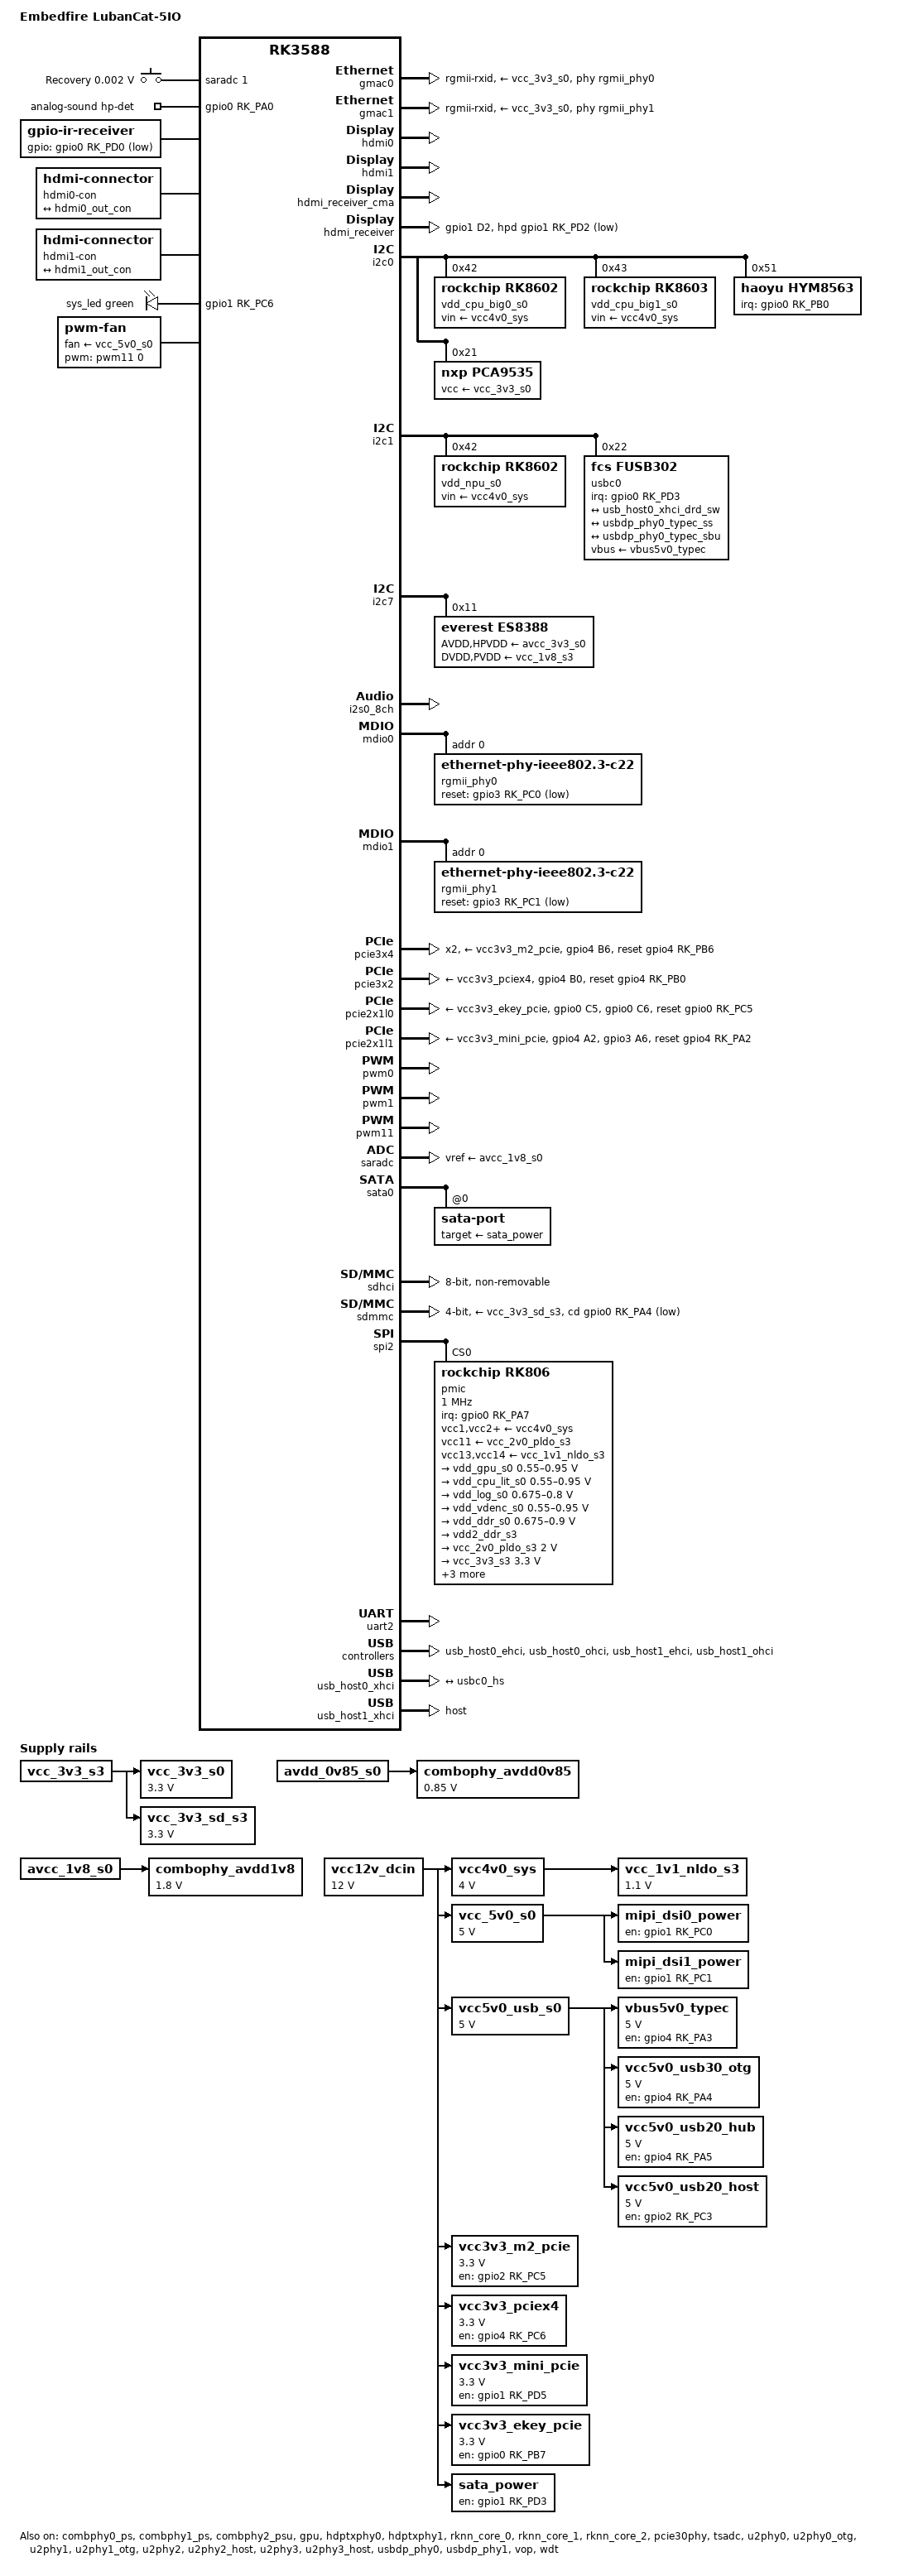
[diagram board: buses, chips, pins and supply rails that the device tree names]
// SPDX-License-Identifier: (GPL-2.0+ OR MIT)

/dts-v1/;

#include <dt-bindings/gpio/gpio.h>
#include <dt-bindings/input/input.h>
#include <dt-bindings/leds/common.h>
#include <dt-bindings/soc/rockchip,vop2.h>
#include <dt-bindings/usb/pd.h>
#include "rk3588.dtsi"

/ {
	model = "Embedfire LubanCat-5IO";
	compatible = "embedfire,rk3588-lubancat-5io", "rockchip,rk3588";

	aliases {
		ethernet0 = &gmac0;
		ethernet1 = &gmac1;
		mmc0 = &sdhci;
		mmc1 = &sdmmc;
	};

	chosen {
		stdout-path = "serial2:1500000n8";
	};

	adc-keys {
		compatible = "adc-keys";
		io-channels = <&saradc 1>;
		io-channel-names = "buttons";
		keyup-threshold-microvolt = <1800000>;
		poll-interval = <100>;

		button-recovery {
			label = "Recovery";
			linux,code = <KEY_VENDOR>;
			press-threshold-microvolt = <1750>;
		};
	};

	analog-sound {
		compatible = "simple-audio-card";
		pinctrl-names = "default";
		pinctrl-0 = <&hp_detect>;
		simple-audio-card,name = "rk3588-es8388";
		simple-audio-card,format = "i2s";
		simple-audio-card,hp-det-gpios = <&gpio0 RK_PA0 GPIO_ACTIVE_HIGH>;
		simple-audio-card,mclk-fs = <256>;
		simple-audio-card,pin-switches = "Headphones", "Speaker";
		simple-audio-card,routing =
			"Headphones", "LOUT1",
			"Headphones", "ROUT1",
			"Speaker", "LOUT2",
			"Speaker", "ROUT2",
			"LINPUT1", "Main Mic",
			"LINPUT2", "Main Mic",
			"RINPUT1", "Headset Mic",
			"RINPUT2", "Headset Mic";
		simple-audio-card,widgets =
			"Headphone", "Headphones",
			"Speaker", "Speaker",
			"Microphone", "Main Mic",
			"Microphone", "Headset Mic";

		simple-audio-card,cpu {
			sound-dai = <&i2s0_8ch>;
		};

		simple-audio-card,codec {
			sound-dai = <&es8388>;
			system-clock-frequency = <12288000>;
		};
	};

	ir-receiver {
		compatible = "gpio-ir-receiver";
		gpios = <&gpio0 RK_PD0 GPIO_ACTIVE_LOW>;
		pinctrl-names = "default";
		pinctrl-0 = <&ir_receiver_pin>;
	};

	hdmi0-con {
		compatible = "hdmi-connector";
		type = "a";

		port {
			hdmi0_con_in: endpoint {
				remote-endpoint = <&hdmi0_out_con>;
			};
		};
	};

	hdmi1-con {
		compatible = "hdmi-connector";
		type = "a";

		port {
			hdmi1_con_in: endpoint {
				remote-endpoint = <&hdmi1_out_con>;
			};
		};
	};

	leds {
		compatible = "gpio-leds";
		pinctrl-names = "default";
		pinctrl-0 = <&sys_led_pin>;

		sys_led: sys-led {
			function = LED_FUNCTION_STATUS;
			color = <LED_COLOR_ID_GREEN>;
			gpios = <&gpio1 RK_PC6 GPIO_ACTIVE_HIGH>;
			linux,default-trigger = "heartbeat";
		};
	};

	fan: pwm-fan {
		compatible = "pwm-fan";
		cooling-levels = <0 100 150 200 255>;
		fan-supply = <&vcc_5v0_s0>;
		pwms = <&pwm11 0 5000 0>;
		#cooling-cells = <2>;
	};

	vcc12v_dcin: vcc12v-dcin-regulator {
		compatible = "regulator-fixed";
		regulator-name = "vcc12v_dcin";
		regulator-always-on;
		regulator-boot-on;
		regulator-min-microvolt = <12000000>;
		regulator-max-microvolt = <12000000>;
	};

	vcc4v0_sys: vcc4v0-sys-regulator {
		compatible = "regulator-fixed";
		regulator-name = "vcc4v0_sys";
		regulator-always-on;
		regulator-boot-on;
		regulator-min-microvolt = <4000000>;
		regulator-max-microvolt = <4000000>;
		vin-supply = <&vcc12v_dcin>;
	};

	vcc_5v0_s0: vcc-5v0-s0-regulator {
		compatible = "regulator-fixed";
		regulator-name = "vcc_5v0_s0";
		regulator-always-on;
		regulator-boot-on;
		regulator-min-microvolt = <5000000>;
		regulator-max-microvolt = <5000000>;
		vin-supply = <&vcc12v_dcin>;
	};

	vcc5v0_usb_s0: vcc5v0-usb-s0-regulator {
		compatible = "regulator-fixed";
		regulator-name = "vcc5v0_usb_s0";
		regulator-always-on;
		regulator-boot-on;
		regulator-min-microvolt = <5000000>;
		regulator-max-microvolt = <5000000>;
		vin-supply = <&vcc12v_dcin>;
	};

	vcc_1v1_nldo_s3: vcc-1v1-nldo-s3-regulator {
		compatible = "regulator-fixed";
		regulator-name = "vcc_1v1_nldo_s3";
		regulator-always-on;
		regulator-boot-on;
		regulator-min-microvolt = <1100000>;
		regulator-max-microvolt = <1100000>;
		vin-supply = <&vcc4v0_sys>;
	};

	vcc_3v3_s0: vcc-3v3-s0-regulator {
		compatible = "regulator-fixed";
		regulator-name = "vcc_3v3_s0";
		regulator-always-on;
		regulator-boot-on;
		regulator-min-microvolt = <3300000>;
		regulator-max-microvolt = <3300000>;
		vin-supply = <&vcc_3v3_s3>;
	};

	vcc_3v3_sd_s3: vcc-3v3-sd-s3-regulator {
		compatible = "regulator-fixed";
		regulator-name = "vcc_3v3_sd_s3";
		regulator-always-on;
		regulator-boot-on;
		regulator-min-microvolt = <3300000>;
		regulator-max-microvolt = <3300000>;
		vin-supply = <&vcc_3v3_s3>;
	};

	combophy_avdd0v85: combophy-avdd0v85-regulator {
		compatible = "regulator-fixed";
		regulator-name = "combophy_avdd0v85";
		regulator-boot-on;
		regulator-min-microvolt = <850000>;
		regulator-max-microvolt = <850000>;
		vin-supply = <&avdd_0v85_s0>;
	};

	combophy_avdd1v8: combophy-avdd1v8-regulator {
		compatible = "regulator-fixed";
		regulator-name = "combophy_avdd1v8";
		regulator-boot-on;
		regulator-min-microvolt = <1800000>;
		regulator-max-microvolt = <1800000>;
		vin-supply = <&avcc_1v8_s0>;
	};

	vbus5v0_typec: vbus5v0-typec-regulator {
		compatible = "regulator-fixed";
		regulator-name = "vbus5v0_typec";
		enable-active-high;
		gpios = <&gpio4 RK_PA3 GPIO_ACTIVE_HIGH>;
		pinctrl-names = "default";
		pinctrl-0 = <&typec_vbus_en>;
		regulator-min-microvolt = <5000000>;
		regulator-max-microvolt = <5000000>;
		vin-supply = <&vcc5v0_usb_s0>;
	};

	vcc5v0_usb30_otg: vcc5v0-usb30-otg-regulator {
		compatible = "regulator-fixed";
		regulator-name = "vcc5v0_usb30_otg";
		regulator-always-on;
		regulator-boot-on;
		enable-active-high;
		gpios = <&gpio4 RK_PA4 GPIO_ACTIVE_HIGH>;
		pinctrl-names = "default";
		pinctrl-0 = <&vcc5v0_usb30_otg_en>;
		regulator-min-microvolt = <5000000>;
		regulator-max-microvolt = <5000000>;
		vin-supply = <&vcc5v0_usb_s0>;
	};

	vcc5v0_usb20_hub: vcc5v0-usb20-hub-regulator {
		compatible = "regulator-fixed";
		regulator-name = "vcc5v0_usb20_hub";
		regulator-always-on;
		regulator-boot-on;
		enable-active-high;
		gpios = <&gpio4 RK_PA5 GPIO_ACTIVE_HIGH>;
		pinctrl-names = "default";
		pinctrl-0 = <&vcc5v0_usb20_hub_en>;
		regulator-min-microvolt = <5000000>;
		regulator-max-microvolt = <5000000>;
		vin-supply = <&vcc5v0_usb_s0>;
	};

	vcc5v0_usb20_host: vcc5v0-usb20-host-regulator {
		compatible = "regulator-fixed";
		regulator-name = "vcc5v0_usb20_host";
		regulator-always-on;
		regulator-boot-on;
		enable-active-high;
		gpios = <&gpio2 RK_PC3 GPIO_ACTIVE_HIGH>;
		pinctrl-names = "default";
		pinctrl-0 = <&vcc5v0_usb20_host_en>;
		regulator-min-microvolt = <5000000>;
		regulator-max-microvolt = <5000000>;
		vin-supply = <&vcc5v0_usb_s0>;
	};

	vcc3v3_m2_pcie: vcc3v3-m2-pcie-regulator {
		compatible = "regulator-fixed";
		regulator-name = "vcc3v3_m2_pcie";
		regulator-always-on;
		regulator-boot-on;
		enable-active-high;
		gpios = <&gpio2 RK_PC5 GPIO_ACTIVE_HIGH>;
		pinctrl-names = "default";
		pinctrl-0 = <&vcc3v3_m2_pcie_en>;
		regulator-min-microvolt = <3300000>;
		regulator-max-microvolt = <3300000>;
		vin-supply = <&vcc12v_dcin>;
	};

	vcc3v3_pciex4: vcc3v3-pciex4-regulator {
		compatible = "regulator-fixed";
		regulator-name = "vcc3v3_pciex4";
		regulator-always-on;
		regulator-boot-on;
		enable-active-high;
		gpios = <&gpio4 RK_PC6 GPIO_ACTIVE_HIGH>;
		pinctrl-names = "default";
		pinctrl-0 = <&vcc3v3_pcie_en>;
		regulator-min-microvolt = <3300000>;
		regulator-max-microvolt = <3300000>;
		vin-supply = <&vcc12v_dcin>;
	};

	vcc3v3_mini_pcie: vcc3v3-mini-pcie-regulator {
		compatible = "regulator-fixed";
		regulator-name = "vcc3v3_mini_pcie";
		regulator-always-on;
		regulator-boot-on;
		enable-active-high;
		gpios = <&gpio1 RK_PD5 GPIO_ACTIVE_HIGH>;
		pinctrl-names = "default";
		pinctrl-0 = <&vcc3v3_mini_pcie_en>;
		regulator-min-microvolt = <3300000>;
		regulator-max-microvolt = <3300000>;
		vin-supply = <&vcc12v_dcin>;
	};

	vcc3v3_ekey_pcie: vcc3v3-ekey-pcie-regulator {
		compatible = "regulator-fixed";
		regulator-name = "vcc3v3_ekey_pcie";
		regulator-always-on;
		regulator-boot-on;
		enable-active-high;
		gpios = <&gpio0 RK_PB7 GPIO_ACTIVE_HIGH>;
		pinctrl-names = "default";
		pinctrl-0 = <&vcc3v3_ekey_pcie_en>;
		regulator-min-microvolt = <3300000>;
		regulator-max-microvolt = <3300000>;
		vin-supply = <&vcc12v_dcin>;
	};

	sata_power: sata-power-regulator {
		compatible = "regulator-fixed";
		regulator-name = "sata_power";
		regulator-always-on;
		regulator-boot-on;
		enable-active-high;
		gpios = <&gpio1 RK_PD3 GPIO_ACTIVE_HIGH>;
		pinctrl-names = "default";
		pinctrl-0 = <&sata_power_en>;
		vin-supply = <&vcc12v_dcin>;
	};

	mipi_dsi0_power: mipi-dsi0-power-regulator {
		compatible = "regulator-fixed";
		regulator-name = "mipi_dsi0_power";
		gpios = <&gpio1 RK_PC0 GPIO_ACTIVE_HIGH>;
		enable-active-high;
		regulator-boot-on;
		regulator-always-on;
		vin-supply = <&vcc_5v0_s0>;
		pinctrl-names = "default";
		pinctrl-0 = <&mipi_dsi0_power_en>;
	};

	mipi_dsi1_power: mipi-dsi1-power-regulator {
		compatible = "regulator-fixed";
		regulator-name = "mipi_dsi1_power";
		gpios = <&gpio1 RK_PC1 GPIO_ACTIVE_HIGH>;
		enable-active-high;
		regulator-boot-on;
		regulator-always-on;
		vin-supply = <&vcc_5v0_s0>;
		pinctrl-names = "default";
		pinctrl-0 = <&mipi_dsi1_power_en>;
	};
};

&combphy0_ps {
	status = "okay";
};

&combphy1_ps {
	status = "okay";
};

&combphy2_psu {
	status = "okay";
};

&cpu_b0 {
	cpu-supply = <&vdd_cpu_big0_s0>;
};

&cpu_b1 {
	cpu-supply = <&vdd_cpu_big0_s0>;
};

&cpu_b2 {
	cpu-supply = <&vdd_cpu_big1_s0>;
};

&cpu_b3 {
	cpu-supply = <&vdd_cpu_big1_s0>;
};

&cpu_l0 {
	cpu-supply = <&vdd_cpu_lit_s0>;
};

&cpu_l1 {
	cpu-supply = <&vdd_cpu_lit_s0>;
};

&cpu_l2 {
	cpu-supply = <&vdd_cpu_lit_s0>;
};

&cpu_l3 {
	cpu-supply = <&vdd_cpu_lit_s0>;
};

&display_subsystem {
	clocks = <&hdptxphy0>, <&hdptxphy1>;
	clock-names = "hdmi0_phy_pll", "hdmi1_phy_pll";
};

&gmac0 {
	phy-mode = "rgmii-rxid";
	clock_in_out = "output";
	phy-handle = <&rgmii_phy0>;
	phy-supply = <&vcc_3v3_s0>;
	pinctrl-names = "default";
	pinctrl-0 = <&gmac0_miim
		     &gmac0_tx_bus2
		     &gmac0_rx_bus2
		     &gmac0_rgmii_clk
		     &gmac0_rgmii_bus>;
	tx_delay = <0x26>;
	status = "okay";
};

&gmac1 {
	phy-mode = "rgmii-rxid";
	clock_in_out = "output";
	phy-handle = <&rgmii_phy1>;
	phy-supply = <&vcc_3v3_s0>;
	pinctrl-names = "default";
	pinctrl-0 = <&gmac1_miim
		     &gmac1_tx_bus2
		     &gmac1_rx_bus2
		     &gmac1_rgmii_clk
		     &gmac1_rgmii_bus>;
	tx_delay = <0x30>;
	status = "okay";
};

&gpu {
	mali-supply = <&vdd_gpu_s0>;
	status = "okay";
};

&pd_gpu {
	domain-supply = <&vdd_gpu_s0>;
};

&hdmi0 {
	status = "okay";
};

&hdmi0_in {
	hdmi0_in_vp0: endpoint {
		remote-endpoint = <&vp0_out_hdmi0>;
	};
};

&hdmi0_out {
	hdmi0_out_con: endpoint {
		remote-endpoint = <&hdmi0_con_in>;
	};
};

&hdmi1 {
	status = "okay";
	pinctrl-0 = <&hdmim0_tx1_cec &hdmim0_tx1_hpd
		     &hdmim0_tx1_scl &hdmim0_tx1_sda>;
};

&hdmi1_in {
	hdmi1_in_vp1: endpoint {
		remote-endpoint = <&vp1_out_hdmi1>;
	};
};

&hdmi1_out {
	hdmi1_out_con: endpoint {
		remote-endpoint = <&hdmi1_con_in>;
	};
};

&hdmi_receiver_cma {
	status = "okay";
};

&hdmi_receiver {
	hpd-gpios = <&gpio1 RK_PD2 GPIO_ACTIVE_LOW>;
	pinctrl-names = "default";
	pinctrl-0 = <&hdmim1_rx_cec &hdmim1_rx_hpdin &hdmim1_rx_scl &hdmim1_rx_sda
		     &hdmirx_det>;
	status = "okay";
};

&hdptxphy0 {
	status = "okay";
};

&hdptxphy1 {
	status = "okay";
};


&rknn_core_0 {
	npu-supply = <&vdd_npu_s0>;
	sram-supply = <&vdd_npu_s0>;
	status = "okay";
};

&rknn_core_1 {
	npu-supply = <&vdd_npu_s0>;
	sram-supply = <&vdd_npu_s0>;
	status = "okay";
};

&rknn_core_2 {
	npu-supply = <&vdd_npu_s0>;
	sram-supply = <&vdd_npu_s0>;
	status = "okay";
};

&rknn_mmu_0 {
	status = "okay";
};

&rknn_mmu_1 {
	status = "okay";
};

&rknn_mmu_2 {
	status = "okay";
};

&pd_npu {
	domain-supply = <&vdd_npu_s0>;
};


&i2c0 {
	pinctrl-names = "default";
	pinctrl-0 = <&i2c0m2_xfer>;
	status = "okay";

	vdd_cpu_big0_s0: regulator@42 {
		compatible = "rockchip,rk8602";
		reg = <0x42>;
		fcs,suspend-voltage-selector = <1>;
		regulator-name = "vdd_cpu_big0_s0";
		regulator-always-on;
		regulator-boot-on;
		regulator-min-microvolt = <550000>;
		regulator-max-microvolt = <1050000>;
		regulator-ramp-delay = <2300>;
		vin-supply = <&vcc4v0_sys>;

		regulator-state-mem {
			regulator-off-in-suspend;
		};
	};

	vdd_cpu_big1_s0: regulator@43 {
		compatible = "rockchip,rk8603", "rockchip,rk8602";
		reg = <0x43>;
		fcs,suspend-voltage-selector = <1>;
		regulator-name = "vdd_cpu_big1_s0";
		regulator-always-on;
		regulator-boot-on;
		regulator-min-microvolt = <550000>;
		regulator-max-microvolt = <1050000>;
		regulator-ramp-delay = <2300>;
		vin-supply = <&vcc4v0_sys>;

		regulator-state-mem {
			regulator-off-in-suspend;
		};
	};

	hym8563: rtc@51 {
		compatible = "haoyu,hym8563";
		reg = <0x51>;
		#clock-cells = <0>;
		clock-output-names = "hym8563";
		pinctrl-names = "default";
		pinctrl-0 = <&hym8563_int>;
		interrupt-parent = <&gpio0>;
		interrupts = <RK_PB0 IRQ_TYPE_LEVEL_LOW>;
		wakeup-source;
	};

	pca9535: gpio@21 {
		compatible = "nxp,pca9535";
		reg = <0x21>;
		vcc-supply = <&vcc_3v3_s0>;
		gpio-controller;
		#gpio-cells = <2>;
	};
};

&i2c1 {
	pinctrl-names = "default";
	pinctrl-0 = <&i2c1m2_xfer>;
	status = "okay";

	vdd_npu_s0: regulator@42 {
		compatible = "rockchip,rk8602";
		reg = <0x42>;
		fcs,suspend-voltage-selector = <1>;
		regulator-name = "vdd_npu_s0";
		regulator-boot-on;
		regulator-min-microvolt = <550000>;
		regulator-max-microvolt = <950000>;
		regulator-ramp-delay = <2300>;
		vin-supply = <&vcc4v0_sys>;

		regulator-state-mem {
			regulator-off-in-suspend;
		};
	};

	usbc0: usb-typec@22 {
		compatible = "fcs,fusb302";
		reg = <0x22>;
		interrupt-parent = <&gpio0>;
		interrupts = <RK_PD3 IRQ_TYPE_LEVEL_LOW>;
		pinctrl-names = "default";
		pinctrl-0 = <&fusb302_int>;
		vbus-supply = <&vbus5v0_typec>;
		status = "okay";

		usb_con: connector {
			compatible = "usb-c-connector";
			label = "USB-C";
			data-role = "dual";
			power-role = "dual";
			try-power-role = "sink";
			op-sink-microwatt = <1000000>;
			sink-pdos = <PDO_FIXED(5000, 3000, PDO_FIXED_USB_COMM)>;
			source-pdos = <PDO_FIXED(5000, 2000, PDO_FIXED_USB_COMM)>;

			ports {
				#address-cells = <1>;
				#size-cells = <0>;

				port@0 {
					reg = <0>;

					usbc0_hs: endpoint {
						remote-endpoint = <&usb_host0_xhci_drd_sw>;
					};
				};

				port@1 {
					reg = <1>;

					usbc0_ss: endpoint {
						remote-endpoint = <&usbdp_phy0_typec_ss>;
					};
				};

				port@2 {
					reg = <2>;

					usbc0_sbu: endpoint {
						remote-endpoint = <&usbdp_phy0_typec_sbu>;
					};
				};
			};
		};
	};
};

&i2c7 {
	pinctrl-names = "default";
	pinctrl-0 = <&i2c7m0_xfer>;
	status = "okay";

	es8388: audio-codec@11 {
		compatible = "everest,es8388", "everest,es8328";
		reg = <0x11>;
		clocks = <&cru I2S0_8CH_MCLKOUT>;
		assigned-clocks = <&cru I2S0_8CH_MCLKOUT>;
		assigned-clock-rates = <12288000>;
		AVDD-supply = <&avcc_3v3_s0>;
		DVDD-supply = <&vcc_1v8_s3>;
		HPVDD-supply = <&avcc_3v3_s0>;
		PVDD-supply = <&vcc_1v8_s3>;
		#sound-dai-cells = <0>;
	};
};

&i2s0_8ch {
	pinctrl-names = "default";
	pinctrl-0 = <&i2s0_lrck
		     &i2s0_mclk
		     &i2s0_sclk
		     &i2s0_sdi0
		     &i2s0_sdo0>;
	status = "okay";
};

&mdio0 {
	rgmii_phy0: ethernet-phy@0 {
		compatible = "ethernet-phy-ieee802.3-c22";
		reg = <0x0>;
		reset-assert-us = <20000>;
		reset-deassert-us = <100000>;
		reset-gpios = <&gpio3 RK_PC0 GPIO_ACTIVE_LOW>;
	};
};

&mdio1 {
	rgmii_phy1: ethernet-phy@0 {
		compatible = "ethernet-phy-ieee802.3-c22";
		reg = <0x0>;
		reset-assert-us = <20000>;
		reset-deassert-us = <100000>;
		reset-gpios = <&gpio3 RK_PC1 GPIO_ACTIVE_LOW>;
	};
};

&package_thermal {
	polling-delay = <1000>;

	trips {
		package_fan0: package-fan0 {
			temperature = <55000>;
			hysteresis = <2000>;
			type = "active";
		};

		package_fan1: package-fan1 {
			temperature = <65000>;
			hysteresis = <2000>;
			type = "active";
		};
	};

	cooling-maps {
		map0 {
			trip = <&package_fan0>;
			cooling-device = <&fan THERMAL_NO_LIMIT 1>;
		};

		map1 {
			trip = <&package_fan1>;
			cooling-device = <&fan 2 THERMAL_NO_LIMIT>;
		};
	};
};

&pcie30phy {
	data-lanes = <1 1 2 2>;
	status = "okay";
};

/* M.2 M-Key (NVMe) */
&pcie3x4 {
	num-lanes = <2>;
	pinctrl-names = "default";
	pinctrl-0 = <&pcie3x4_rst>;
	reset-gpios = <&gpio4 RK_PB6 GPIO_ACTIVE_HIGH>;
	vpcie3v3-supply = <&vcc3v3_m2_pcie>;
	status = "okay";
};

/* PCIe x4 slot */
&pcie3x2 {
	pinctrl-names = "default";
	pinctrl-0 = <&pcie3x2_rst>;
	reset-gpios = <&gpio4 RK_PB0 GPIO_ACTIVE_HIGH>;
	vpcie3v3-supply = <&vcc3v3_pciex4>;
	status = "okay";
};

/* M.2 E-Key (WiFi/BT) */
&pcie2x1l0 {
	pinctrl-names = "default";
	pinctrl-0 = <&pcie2x1l0_rst &ekey_disable>;
	reset-gpios = <&gpio0 RK_PC5 GPIO_ACTIVE_HIGH>;
	vpcie3v3-supply = <&vcc3v3_ekey_pcie>;
	status = "okay";
};

/* Mini-PCIe */
&pcie2x1l1 {
	pinctrl-names = "default";
	pinctrl-0 = <&pcie2x1l1_rst &minipcie_disable>;
	reset-gpios = <&gpio4 RK_PA2 GPIO_ACTIVE_HIGH>;
	vpcie3v3-supply = <&vcc3v3_mini_pcie>;
	status = "okay";
};

&pinctrl {
	hym8563 {
		hym8563_int: hym8563-int {
			rockchip,pins = <0 RK_PB0 RK_FUNC_GPIO &pcfg_pull_up>;
		};
	};


	leds {
		sys_led_pin: sys-led-pin {
			rockchip,pins = <1 RK_PC6 RK_FUNC_GPIO &pcfg_pull_none>;
		};
	};

	hdmirx {
		hdmirx_det: hdmirx-det {
			rockchip,pins = <1 RK_PD2 RK_FUNC_GPIO &pcfg_pull_up>;
		};
	};

	ir-receiver {
		ir_receiver_pin: ir-receiver-pin {
			rockchip,pins = <0 RK_PD0 RK_FUNC_GPIO &pcfg_pull_none>;
		};
	};

	sound {
		hp_detect: hp-detect {
			rockchip,pins = <0 RK_PA0 RK_FUNC_GPIO &pcfg_pull_none>;
		};
	};

	pcie2 {
		pcie2x1l0_rst: pcie2x1l0-rst {
			rockchip,pins = <0 RK_PC5 RK_FUNC_GPIO &pcfg_pull_none>;
		};

		ekey_disable: ekey-disable {
			rockchip,pins = <0 RK_PC6 RK_FUNC_GPIO &pcfg_pull_none>;
		};

		pcie2x1l1_rst: pcie2x1l1-rst {
			rockchip,pins = <4 RK_PA2 RK_FUNC_GPIO &pcfg_pull_none>;
		};

		minipcie_disable: minipcie-disable {
			rockchip,pins = <3 RK_PA6 RK_FUNC_GPIO &pcfg_pull_none>;
		};
	};

	pcie3 {
		pcie3x4_rst: pcie3x4-rst {
			rockchip,pins = <4 RK_PB6 RK_FUNC_GPIO &pcfg_pull_none>;
		};

		pcie3x2_rst: pcie3x2-rst {
			rockchip,pins = <4 RK_PB0 RK_FUNC_GPIO &pcfg_pull_none>;
		};
	};

	sata {
		sata_power_en: sata-power-en {
			rockchip,pins = <1 RK_PD3 RK_FUNC_GPIO &pcfg_pull_none>;
		};
	};

	mipi {
		mipi_dsi0_power_en: mipi-dsi0-power-en {
			rockchip,pins = <1 RK_PC0 RK_FUNC_GPIO &pcfg_pull_none>;
		};

		mipi_dsi1_power_en: mipi-dsi1-power-en {
			rockchip,pins = <1 RK_PC1 RK_FUNC_GPIO &pcfg_pull_none>;
		};
	};

	usb-typec {
		fusb302_int: fusb302-int {
			rockchip,pins = <0 RK_PD3 RK_FUNC_GPIO &pcfg_pull_up>;
		};

		typec_vbus_en: typec-vbus-en {
			rockchip,pins = <4 RK_PA3 RK_FUNC_GPIO &pcfg_pull_none>;
		};

		vcc5v0_usb30_otg_en: vcc5v0-usb30-otg-en {
			rockchip,pins = <4 RK_PA4 RK_FUNC_GPIO &pcfg_pull_none>;
		};

		vcc5v0_usb20_hub_en: vcc5v0-usb20-hub-en {
			rockchip,pins = <4 RK_PA5 RK_FUNC_GPIO &pcfg_pull_none>;
		};

		vcc5v0_usb20_host_en: vcc5v0-usb20-host-en {
			rockchip,pins = <2 RK_PC3 RK_FUNC_GPIO &pcfg_pull_none>;
		};

		vcc3v3_m2_pcie_en: vcc3v3-m2-pcie-en {
			rockchip,pins = <2 RK_PC5 RK_FUNC_GPIO &pcfg_pull_none>;
		};

		vcc3v3_pcie_en: vcc3v3-pcie-en {
			rockchip,pins = <4 RK_PC6 RK_FUNC_GPIO &pcfg_pull_none>;
		};

		vcc3v3_mini_pcie_en: vcc3v3-mini-pcie-en {
			rockchip,pins = <1 RK_PD5 RK_FUNC_GPIO &pcfg_pull_none>;
		};

		vcc3v3_ekey_pcie_en: vcc3v3-ekey-pcie-en {
			rockchip,pins = <0 RK_PB7 RK_FUNC_GPIO &pcfg_pull_none>;
		};
	};
};

&pwm0 {
	pinctrl-names = "default";
	pinctrl-0 = <&pwm0m2_pins>;
	status = "okay";
};

&pwm1 {
	pinctrl-names = "default";
	pinctrl-0 = <&pwm1m2_pins>;
	status = "okay";
};

&pwm7 {
	status = "disabled";
};

&pwm11 {
	pinctrl-names = "default";
	pinctrl-0 = <&pwm11m2_pins>;
	status = "okay";
};


&saradc {
	vref-supply = <&avcc_1v8_s0>;
	status = "okay";
};

&sata0 {
	status = "okay";

	sata-port@0 {
		target-supply = <&sata_power>;
	};
};

&sdhci {
	bus-width = <8>;
	no-sdio;
	no-sd;
	non-removable;
	max-frequency = <200000000>;
	mmc-hs400-1_8v;
	mmc-hs400-enhanced-strobe;
	status = "okay";
};

&sdmmc {
	pinctrl-names = "default";
	pinctrl-0 = <&sdmmc_bus4 &sdmmc_clk &sdmmc_cmd &sdmmc_det>;
	max-frequency = <200000000>;
	no-sdio;
	no-mmc;
	bus-width = <4>;
	cap-mmc-highspeed;
	cap-sd-highspeed;
	disable-wp;
	sd-uhs-sdr104;
	cd-gpios = <&gpio0 RK_PA4 GPIO_ACTIVE_LOW>;
	vmmc-supply = <&vcc_3v3_sd_s3>;
	vqmmc-supply = <&vccio_sd_s0>;
	status = "okay";
};

&sfc {
	status = "disabled";
};

&spi2 {
	status = "okay";
	assigned-clocks = <&cru CLK_SPI2>;
	assigned-clock-rates = <200000000>;
	pinctrl-names = "default";
	pinctrl-0 = <&spi2m2_cs0 &spi2m2_pins>;
	num-cs = <1>;

	pmic@0 {
		compatible = "rockchip,rk806";
		spi-max-frequency = <1000000>;
		reg = <0x0>;

		interrupt-parent = <&gpio0>;
		interrupts = <RK_PA7 IRQ_TYPE_LEVEL_LOW>;

		pinctrl-names = "default", "pmic-power-off";
		pinctrl-0 = <&pmic_pins>, <&rk806_dvs1_null>,
			    <&rk806_dvs2_null>, <&rk806_dvs3_null>;
		pinctrl-1 = <&rk806_dvs1_pwrdn>;

		system-power-controller;

		vcc1-supply = <&vcc4v0_sys>;
		vcc2-supply = <&vcc4v0_sys>;
		vcc3-supply = <&vcc4v0_sys>;
		vcc4-supply = <&vcc4v0_sys>;
		vcc5-supply = <&vcc4v0_sys>;
		vcc6-supply = <&vcc4v0_sys>;
		vcc7-supply = <&vcc4v0_sys>;
		vcc8-supply = <&vcc4v0_sys>;
		vcc9-supply = <&vcc4v0_sys>;
		vcc10-supply = <&vcc4v0_sys>;
		vcc11-supply = <&vcc_2v0_pldo_s3>;
		vcc12-supply = <&vcc4v0_sys>;
		vcc13-supply = <&vcc_1v1_nldo_s3>;
		vcc14-supply = <&vcc_1v1_nldo_s3>;
		vcca-supply = <&vcc4v0_sys>;

		gpio-controller;
		#gpio-cells = <2>;

		rk806_dvs1_null: dvs1-null-pins {
			pins = "gpio_pwrctrl1";
			function = "pin_fun0";
		};

		rk806_dvs2_null: dvs2-null-pins {
			pins = "gpio_pwrctrl2";
			function = "pin_fun0";
		};

		rk806_dvs3_null: dvs3-null-pins {
			pins = "gpio_pwrctrl3";
			function = "pin_fun0";
		};

		rk806_dvs1_pwrdn: dvs1-pwrdn-pins {
			pins = "gpio_pwrctrl1";
			function = "pin_fun2";
		};

		regulators {
			vdd_gpu_s0: dcdc-reg1 {
				regulator-boot-on;
				regulator-min-microvolt = <550000>;
				regulator-max-microvolt = <950000>;
				regulator-ramp-delay = <12500>;
				regulator-name = "vdd_gpu_s0";
				regulator-enable-ramp-delay = <400>;

				regulator-state-mem {
					regulator-off-in-suspend;
				};
			};

			vdd_cpu_lit_s0: dcdc-reg2 {
				regulator-always-on;
				regulator-boot-on;
				regulator-min-microvolt = <550000>;
				regulator-max-microvolt = <950000>;
				regulator-ramp-delay = <12500>;
				regulator-name = "vdd_cpu_lit_s0";

				regulator-state-mem {
					regulator-off-in-suspend;
				};
			};

			vdd_log_s0: dcdc-reg3 {
				regulator-always-on;
				regulator-boot-on;
				regulator-min-microvolt = <675000>;
				regulator-max-microvolt = <800000>;
				regulator-ramp-delay = <12500>;
				regulator-name = "vdd_log_s0";

				regulator-state-mem {
					regulator-off-in-suspend;
					regulator-suspend-microvolt = <750000>;
				};
			};

			vdd_vdenc_s0: dcdc-reg4 {
				regulator-always-on;
				regulator-boot-on;
				regulator-min-microvolt = <550000>;
				regulator-max-microvolt = <950000>;
				regulator-ramp-delay = <12500>;
				regulator-name = "vdd_vdenc_s0";

				regulator-state-mem {
					regulator-off-in-suspend;
				};
			};

			vdd_ddr_s0: dcdc-reg5 {
				regulator-always-on;
				regulator-boot-on;
				regulator-min-microvolt = <675000>;
				regulator-max-microvolt = <900000>;
				regulator-ramp-delay = <12500>;
				regulator-name = "vdd_ddr_s0";

				regulator-state-mem {
					regulator-off-in-suspend;
					regulator-suspend-microvolt = <850000>;
				};
			};

			vdd2_ddr_s3: dcdc-reg6 {
				regulator-always-on;
				regulator-boot-on;
				regulator-name = "vdd2_ddr_s3";

				regulator-state-mem {
					regulator-on-in-suspend;
				};
			};

			vcc_2v0_pldo_s3: dcdc-reg7 {
				regulator-always-on;
				regulator-boot-on;
				regulator-min-microvolt = <2000000>;
				regulator-max-microvolt = <2000000>;
				regulator-ramp-delay = <12500>;
				regulator-name = "vcc_2v0_pldo_s3";

				regulator-state-mem {
					regulator-on-in-suspend;
					regulator-suspend-microvolt = <2000000>;
				};
			};

			vcc_3v3_s3: dcdc-reg8 {
				regulator-always-on;
				regulator-boot-on;
				regulator-min-microvolt = <3300000>;
				regulator-max-microvolt = <3300000>;
				regulator-name = "vcc_3v3_s3";

				regulator-state-mem {
					regulator-on-in-suspend;
					regulator-suspend-microvolt = <3300000>;
				};
			};

			vddq_ddr_s0: dcdc-reg9 {
				regulator-always-on;
				regulator-boot-on;
				regulator-name = "vddq_ddr_s0";

				regulator-state-mem {
					regulator-off-in-suspend;
				};
			};

			vcc_1v8_s3: dcdc-reg10 {
				regulator-always-on;
				regulator-boot-on;
				regulator-min-microvolt = <1800000>;
				regulator-max-microvolt = <1800000>;
				regulator-name = "vcc_1v8_s3";

				regulator-state-mem {
					regulator-on-in-suspend;
					regulator-suspend-microvolt = <1800000>;
				};
			};

			avcc_1v8_s0: pldo-reg1 {
				regulator-always-on;
				regulator-boot-on;
				regulator-min-microvolt = <1800000>;
				regulator-max-microvolt = <1800000>;
				regulator-name = "avcc_1v8_s0";

				regulator-state-mem {
					regulator-on-in-suspend;
					regulator-suspend-microvolt = <1800000>;
				};
			};

			vcc_1v8_s0: pldo-reg2 {
				regulator-always-on;
				regulator-boot-on;
				regulator-min-microvolt = <1800000>;
				regulator-max-microvolt = <1800000>;
				regulator-name = "vcc_1v8_s0";

				regulator-state-mem {
					regulator-off-in-suspend;
					regulator-suspend-microvolt = <1800000>;
				};
			};

			avdd_1v2_s0: pldo-reg3 {
				regulator-always-on;
				regulator-boot-on;
				regulator-min-microvolt = <1200000>;
				regulator-max-microvolt = <1200000>;
				regulator-name = "avdd_1v2_s0";

				regulator-state-mem {
					regulator-off-in-suspend;
				};
			};

			avcc_3v3_s0: pldo-reg4 {
				regulator-always-on;
				regulator-boot-on;
				regulator-min-microvolt = <3300000>;
				regulator-max-microvolt = <3300000>;
				regulator-ramp-delay = <12500>;
				regulator-name = "avcc_3v3_s0";

				regulator-state-mem {
					regulator-off-in-suspend;
				};
			};

			vccio_sd_s0: pldo-reg5 {
				regulator-always-on;
				regulator-boot-on;
				regulator-min-microvolt = <1800000>;
				regulator-max-microvolt = <3300000>;
				regulator-ramp-delay = <12500>;
				regulator-name = "vccio_sd_s0";

				regulator-state-mem {
					regulator-off-in-suspend;
				};
			};

			pldo6_s3: pldo-reg6 {
				regulator-always-on;
				regulator-boot-on;
				regulator-min-microvolt = <1800000>;
				regulator-max-microvolt = <1800000>;
				regulator-name = "pldo6_s3";

				regulator-state-mem {
					regulator-on-in-suspend;
					regulator-suspend-microvolt = <1800000>;
				};
			};

			vdd_0v75_s3: nldo-reg1 {
				regulator-always-on;
				regulator-boot-on;
				regulator-min-microvolt = <750000>;
				regulator-max-microvolt = <750000>;
				regulator-name = "vdd_0v75_s3";

				regulator-state-mem {
					regulator-on-in-suspend;
					regulator-suspend-microvolt = <750000>;
				};
			};

			avdd_ddr_pll_s0: nldo-reg2 {
				regulator-always-on;
				regulator-boot-on;
				regulator-min-microvolt = <850000>;
				regulator-max-microvolt = <850000>;
				regulator-name = "avdd_ddr_pll_s0";

				regulator-state-mem {
					regulator-off-in-suspend;
					regulator-suspend-microvolt = <850000>;
				};
			};

			avdd_0v75_s0: nldo-reg3 {
				regulator-always-on;
				regulator-boot-on;
				regulator-min-microvolt = <837500>;
				regulator-max-microvolt = <837500>;
				regulator-name = "avdd_0v75_s0";

				regulator-state-mem {
					regulator-off-in-suspend;
				};
			};

			avdd_0v85_s0: nldo-reg4 {
				regulator-always-on;
				regulator-boot-on;
				regulator-min-microvolt = <850000>;
				regulator-max-microvolt = <850000>;
				regulator-name = "avdd_0v85_s0";

				regulator-state-mem {
					regulator-off-in-suspend;
				};
			};

			vdd_0v75_s0: nldo-reg5 {
				regulator-always-on;
				regulator-boot-on;
				regulator-min-microvolt = <750000>;
				regulator-max-microvolt = <750000>;
				regulator-name = "vdd_0v75_s0";

				regulator-state-mem {
					regulator-off-in-suspend;
				};
			};
		};
	};
};

&tsadc {
	status = "okay";
};

&uart2 {
	pinctrl-names = "default";
	pinctrl-0 = <&uart2m0_xfer>;
	status = "okay";
};

&u2phy0 {
	status = "okay";
};

&u2phy0_otg {
	status = "okay";
};

&u2phy1 {
	status = "okay";
};

&u2phy1_otg {
	phy-supply = <&vcc5v0_usb30_otg>;
	status = "okay";
};

&u2phy2 {
	status = "okay";
};

&u2phy2_host {
	phy-supply = <&vcc5v0_usb20_host>;
	status = "okay";
};

&u2phy3 {
	status = "okay";
};

&u2phy3_host {
	phy-supply = <&vcc5v0_usb20_hub>;
	status = "okay";
};

&usbdp_phy0 {
	mode-switch;
	orientation-switch;
	sbu1-dc-gpios = <&gpio1 RK_PB0 GPIO_ACTIVE_HIGH>;
	sbu2-dc-gpios = <&gpio1 RK_PB1 GPIO_ACTIVE_HIGH>;
	status = "okay";

	port {
		#address-cells = <1>;
		#size-cells = <0>;

		usbdp_phy0_typec_ss: endpoint@0 {
			reg = <0>;
			remote-endpoint = <&usbc0_ss>;
		};

		usbdp_phy0_typec_sbu: endpoint@1 {
			reg = <1>;
			remote-endpoint = <&usbc0_sbu>;
		};
	};
};

&usbdp_phy1 {
	rockchip,dp-lane-mux = <2 3>;
	status = "okay";
};

&usb_host0_ehci {
	status = "okay";
};

&usb_host0_ohci {
	status = "okay";
};

&usb_host0_xhci {
	usb-role-switch;
	status = "okay";

	port {
		usb_host0_xhci_drd_sw: endpoint {
			remote-endpoint = <&usbc0_hs>;
		};
	};
};

&usb_host1_ehci {
	status = "okay";
};

&usb_host1_ohci {
	status = "okay";
};

&usb_host1_xhci {
	dr_mode = "host";
	status = "okay";
};

/*
 * combphy2_psu is shared between usb_host2_xhci (USB3) and pcie2x1l1 (PCIe).
 * Disable USB3 host2 so the PHY can be used for the Mini-PCIe slot.
 * See rk3588s-orangepi-5-pro.dts for the same workaround.
 */
&usb_host2_xhci {
	status = "disabled";
};

&vop {
	status = "okay";
};

&vop_mmu {
	status = "okay";
};

&vp0 {
	vp0_out_hdmi0: endpoint@ROCKCHIP_VOP2_EP_HDMI0 {
		reg = <ROCKCHIP_VOP2_EP_HDMI0>;
		remote-endpoint = <&hdmi0_in_vp0>;
	};
};

&vp1 {
	vp1_out_hdmi1: endpoint@ROCKCHIP_VOP2_EP_HDMI1 {
		reg = <ROCKCHIP_VOP2_EP_HDMI1>;
		remote-endpoint = <&hdmi1_in_vp1>;
	};
};

&wdt {
	status = "okay";
};
